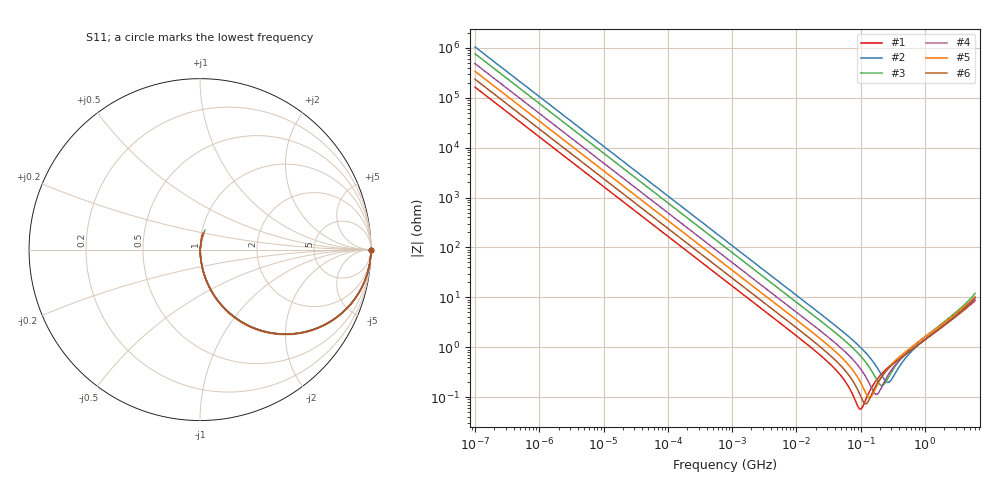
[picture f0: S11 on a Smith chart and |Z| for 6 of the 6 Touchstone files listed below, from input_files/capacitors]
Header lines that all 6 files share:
!These Parameters are Measured in Series Mode Connection
!  o--ll--o
!Port1  Port2
!  o------o
!Operation Temp=25[degC], DC Bias Voltage=0[V]
!Freq. Start=100[Hz] Stop=6[GHz], 401[Steps]
!Data Generated on Nov 6, 2018
# Hz S RI R 50
!Freq.(Hz) S11(Real) S11(Imag) S21(Real) S21(Imag) S12(Real) S12(Imag) S22(Real) S22(Imag)
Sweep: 100 Hz to 6 GHz
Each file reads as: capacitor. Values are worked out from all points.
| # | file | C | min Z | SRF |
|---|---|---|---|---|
| 1 | GCM033R71A103KA03.s2p | 9.78 nF | 57.7 mohm | 99.48 MHz |
| 2 | GCM033R71A152KA03.s2p | 1.53 nF | 197 mohm | 266.4 MHz |
| 3 | GCM033R71A222KA03.s2p | 2.09 nF | 172 mohm | 214.9 MHz |
| 4 | GCM033R71A332KA03.s2p | 3.3 nF | 113 mohm | 176.5 MHz |
| 5 | GCM033R71A472KA03.s2p | 4.71 nF | 97.6 mohm | 138.4 MHz |
| 6 | GCM033R71A682KA03.s2p | 6.79 nF | 73.5 mohm | 120.5 MHz |
